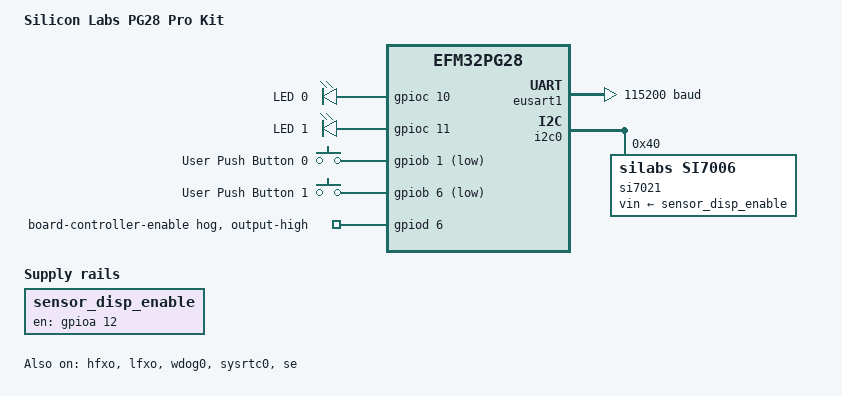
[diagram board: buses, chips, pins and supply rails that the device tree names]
/*
 * Copyright (c) 2025 Christoph Jans
 *
 * SPDX-License-Identifier: Apache-2.0
 */

/dts-v1/;
#include <silabs/xg28/efm32pg28b310f1024im68.dtsi>
#include <zephyr/dt-bindings/input/input-event-codes.h>
#include <zephyr/dt-bindings/regulator/silabs_dcdc.h>
#include "xg28_pk2506a-pinctrl.dtsi"

/ {
	model = "Silicon Labs PG28 Pro Kit";
	compatible = "silabs,xg28_pk2506a", "silabs,efm32pg28";

	chosen {
		zephyr,console = &eusart1;
		zephyr,shell-uart = &eusart1;
		zephyr,uart-pipe = &eusart1;
		zephyr,sram = &sram0;
		zephyr,flash = &flash0;
		zephyr,code-partition = &slot0_partition;
	};

	aliases {
		led0 = &led0;
		led1 = &led1;
		sw0 = &button0;
		sw1 = &button1;
		watchdog0 = &wdog0;
		dht0 = &si7021;
	};

	leds {
		compatible = "gpio-leds";
		led0: led_0 {
			gpios = <&gpioc 10 GPIO_ACTIVE_HIGH>;
			label = "LED 0";
		};

		led1: led_1 {
			gpios = <&gpioc 11 GPIO_ACTIVE_HIGH>;
			label = "LED 1";
		};
	};

	buttons {
		compatible = "gpio-keys";
		button0: button_0 {
			gpios = <&gpiob 1 GPIO_ACTIVE_LOW>;
			label = "User Push Button 0";
			zephyr,code = <INPUT_KEY_0>;
		};

		button1: button_1 {
			gpios = <&gpiob 6 GPIO_ACTIVE_LOW>;
			label = "User Push Button 1";
			zephyr,code = <INPUT_KEY_1>;
		};
	};

	sensor_disp_enable: sensor_disp_enable {
		compatible = "regulator-fixed";
		regulator-name = "sensor_disp_enable";
		enable-gpios = <&gpioa 12 GPIO_ACTIVE_HIGH>;
		status = "okay";
	};
};

&cpu0 {
	clock-frequency = <78000000>;
};

&pstate_em3 {
	status = "disabled";
};

&hfxo {
	status = "okay";
	ctune = <106>;
	precision = <50>;
};

&lfxo {
	status = "okay";
	ctune = <38>;
	precision = <50>;
};

&hfrcodpll {
	clock-frequency = <DT_FREQ_M(78)>;
	clocks = <&hfxo>;
	dpll-n = <3839>;
	dpll-m = <1919>;
	dpll-edge = "fall";
	dpll-lock = "phase";
	dpll-autorecover;
};

&em23grpaclk {
	clocks = <&lfxo>;
};

&em4grpaclk {
	clocks = <&lfxo>;
};

&sysrtcclk {
	clocks = <&lfxo>;
};

&wdog0clk {
	clocks = <&lfxo>;
};

&wdog1clk {
	clocks = <&lfxo>;
};

&eusart0 {
	compatible = "silabs,eusart-uart";
	current-speed = <115200>;
	pinctrl-0 = <&eusart0_default>;
	pinctrl-names = "default";
	status = "disabled";
};

&eusart1 {
	compatible = "silabs,eusart-uart";
	current-speed = <115200>;
	pinctrl-0 = <&eusart1_default>;
	pinctrl-names = "default";
	status = "okay";
};

&i2c0 {
	pinctrl-0 = <&i2c0_default>;
	pinctrl-names = "default";
	status = "okay";

	si7021: si7021@40 {
		compatible = "silabs,si7006";
		reg = <0x40>;
		vin-supply = <&sensor_disp_enable>;
		status = "okay";
	};
};

&gpio {
	status = "okay";
};

&gpioa {
	status = "okay";
};

&gpiob {
	status = "okay";
};

&gpioc {
	status = "okay";
};

&gpiod {
	status = "okay";
	// VCOM Isolation. Set PD6 to HIGH to enable VCOM_{RX,TX}.
	board-controller-enable {
		gpio-hog;
		gpios = <6 GPIO_ACTIVE_HIGH>;
		output-high;
	};
};

&wdog0 {
	status = "okay";
};

&sysrtc0 {
	status = "okay";
};

&se {
	status = "okay";
};

&dcdc {
	status = "okay";
	regulator-boot-on;
	regulator-initial-mode = <SILABS_DCDC_MODE_BUCK>;
	silabs,pfmx-peak-current-milliamp = <80>;
};

&flash0 {
	partitions {
		compatible = "fixed-partitions";
		#address-cells = <1>;
		#size-cells = <1>;

		/* Reserve 48 kB for the bootloader */
		boot_partition: partition@0 {
			label = "mcuboot";
			reg = <0x0 DT_SIZE_K(48)>;
			read-only;
		};

		/* Reserve 208 kB for the application in slot 0 */
		slot0_partition: partition@c000 {
			label = "image-0";
			reg = <0x0000c000 DT_SIZE_K(208)>;
		};

		/* Reserve 208 kB for the application in slot 1 */
		slot1_partition: partition@40000 {
			label = "image-1";
			reg = <0x00040000 DT_SIZE_K(208)>;
		};

		/* Reserve 32 kB for the scratch partition */
		scratch_partition: partition@74000 {
			label = "image-scratch";
			reg = <0x00074000 DT_SIZE_K(32)>;
		};
	};
};
